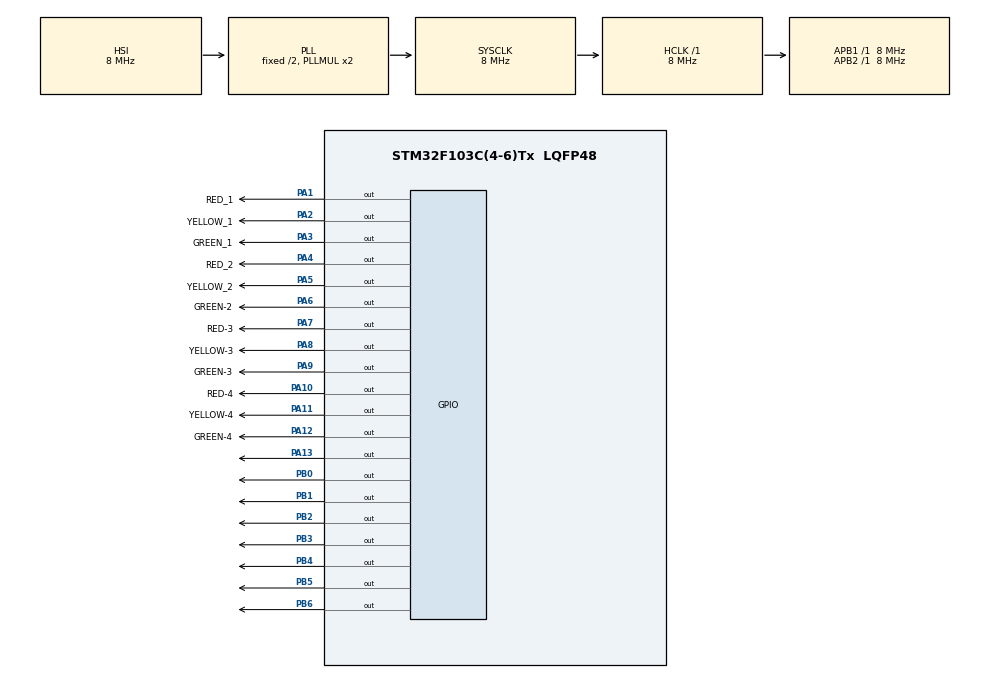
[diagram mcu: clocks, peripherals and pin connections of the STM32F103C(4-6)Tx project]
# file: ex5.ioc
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Mcu.Family=STM32F1
Mcu.Name=STM32F103C(4-6)Tx
Mcu.Package=LQFP48
NVIC.PriorityGroup=NVIC_PRIORITYGROUP_4
NVIC.TIM2_IRQn=true\:0\:0\:false\:false\:true\:true\:true\:true
PA1.GPIO_Label=RED_1
PA1.Signal=GPIO_Output
PA10.GPIO_Label=RED-4
PA10.Signal=GPIO_Output
PA11.GPIO_Label=YELLOW-4
PA11.Signal=GPIO_Output
PA12.GPIO_Label=GREEN-4
PA12.Signal=GPIO_Output
PA13.Signal=GPIO_Output
PA2.GPIO_Label=YELLOW_1
PA2.Signal=GPIO_Output
PA3.GPIO_Label=GREEN_1
PA3.Signal=GPIO_Output
PA4.GPIO_Label=RED_2
PA4.Signal=GPIO_Output
PA5.GPIO_Label=YELLOW_2
PA5.Signal=GPIO_Output
PA6.GPIO_Label=GREEN-2
PA6.Signal=GPIO_Output
PA7.GPIO_Label=RED-3
PA7.Signal=GPIO_Output
PA8.GPIO_Label=YELLOW-3
PA8.Signal=GPIO_Output
PA9.GPIO_Label=GREEN-3
PA9.Signal=GPIO_Output
PB0.Signal=GPIO_Output
PB1.Signal=GPIO_Output
PB2.Signal=GPIO_Output
PB3.Signal=GPIO_Output
PB4.Signal=GPIO_Output
PB5.Signal=GPIO_Output
PB6.Signal=GPIO_Output
ProjectManager.HeapSize=0x200
ProjectManager.StackSize=0x400
ProjectManager.TargetToolchain=STM32CubeIDE
RCC.AHBFreq_Value=8000000
RCC.APB1Freq_Value=8000000
RCC.APB1TimFreq_Value=8000000
RCC.APB2Freq_Value=8000000
RCC.APB2TimFreq_Value=8000000
RCC.HCLKFreq_Value=8000000
RCC.SYSCLKFreq_VALUE=8000000
RCC.SYSCLKSource=RCC_SYSCLKSOURCE_PLLCLK
RCC.USBFreq_Value=8000000
TIM2.Period=999
TIM2.Prescaler=7999
VP_SYS_VS_ND.Mode=No_Debug
VP_TIM2_VS_ClockSourceINT.Mode=Internal
board=custom

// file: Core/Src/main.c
/* USER CODE BEGIN Header */
/**
  ******************************************************************************
  * @file           : main.c
  * @brief          : Main program body
  ******************************************************************************
  * @attention
  *
  * Copyright (c) 2022 STMicroelectronics.
  * All rights reserved.
  *
  * This software is licensed under terms that can be found in the LICENSE file
  * in the root directory of this software component.
  * If no LICENSE file comes with this software, it is provided AS-IS.
  *
  ******************************************************************************
  */
/* USER CODE END Header */
#include "main.h"

 TIM_HandleTypeDef htim2;

void SystemClock_Config(void);
static void MX_GPIO_Init(void);
static void MX_TIM2_Init(void);

/* USER CODE BEGIN 0 */
char status = 'r';
char status_2 = 'g';

const int redTime = 5;
const int greenTime = 4;
const int yellowTime = 1;

int isYellow = 1;

const int delayTime = redTime-greenTime-yellowTime;

int currentTime = 0;
int currentYellowTIme = 0;

int countdownTime = 10;

void lightSwitch(int light, char signal){
	if (signal == 'r'){
		if (light == 1){
			HAL_GPIO_WritePin(RED_1_GPIO_Port, RED_1_Pin, 0);
			HAL_GPIO_WritePin(YELLOW_1_GPIO_Port, YELLOW_1_Pin, 1);
			HAL_GPIO_WritePin(GREEN_1_GPIO_Port, GREEN_1_Pin, 1);
		}
		else if (light == 2){
			HAL_GPIO_WritePin(RED_2_GPIO_Port, RED_2_Pin, 0);
			HAL_GPIO_WritePin(YELLOW_2_GPIO_Port, YELLOW_2_Pin, 1);
			HAL_GPIO_WritePin(GREEN_2_GPIO_Port, GREEN_2_Pin, 1);
		}
		else if (light == 3){
			HAL_GPIO_WritePin(RED_3_GPIO_Port, RED_3_Pin, 0);
			HAL_GPIO_WritePin(YELLOW_3_GPIO_Port, YELLOW_3_Pin, 1);
			HAL_GPIO_WritePin(GREEN_3_GPIO_Port, GREEN_3_Pin, 1);
		}
		else if (light == 4){
			HAL_GPIO_WritePin(RED_4_GPIO_Port, RED_4_Pin, 0);
			HAL_GPIO_WritePin(YELLOW_4_GPIO_Port, YELLOW_4_Pin, 1);
			HAL_GPIO_WritePin(GREEN_4_GPIO_Port, GREEN_4_Pin, 1);
		}
	}
	else if (signal == 'g'){
		if (light == 1){
			HAL_GPIO_WritePin(RED_1_GPIO_Port, RED_1_Pin, 1);
			HAL_GPIO_WritePin(YELLOW_1_GPIO_Port, YELLOW_1_Pin, 1);
			HAL_GPIO_WritePin(GREEN_1_GPIO_Port, GREEN_1_Pin, 0);
		}
		else if (light == 2){
			HAL_GPIO_WritePin(RED_2_GPIO_Port, RED_2_Pin, 1);
			HAL_GPIO_WritePin(YELLOW_2_GPIO_Port, YELLOW_2_Pin, 1);
			HAL_GPIO_WritePin(GREEN_2_GPIO_Port, GREEN_2_Pin, 0);
		}
		else if (light == 3){
			HAL_GPIO_WritePin(RED_3_GPIO_Port, RED_3_Pin, 1);
			HAL_GPIO_WritePin(YELLOW_3_GPIO_Port, YELLOW_3_Pin, 1);
			HAL_GPIO_WritePin(GREEN_3_GPIO_Port, GREEN_3_Pin, 0);
		}
		else if (light == 4){
			HAL_GPIO_WritePin(RED_4_GPIO_Port, RED_4_Pin, 1);
			HAL_GPIO_WritePin(YELLOW_4_GPIO_Port, YELLOW_4_Pin, 1);
			HAL_GPIO_WritePin(GREEN_4_GPIO_Port, GREEN_4_Pin, 0);
		}
	}
	else if(signal == 'y'){
		if (light == 1){
			HAL_GPIO_WritePin(RED_1_GPIO_Port, RED_1_Pin, 1);
			HAL_GPIO_WritePin(YELLOW_1_GPIO_Port, YELLOW_1_Pin, 0);
			HAL_GPIO_WritePin(GREEN_1_GPIO_Port, GREEN_1_Pin, 1);
		}
		else if (light == 2){
			HAL_GPIO_WritePin(RED_2_GPIO_Port, RED_2_Pin, 1);
			HAL_GPIO_WritePin(YELLOW_2_GPIO_Port, YELLOW_2_Pin, 0);
			HAL_GPIO_WritePin(GREEN_2_GPIO_Port, GREEN_2_Pin, 1);
		}
		else if (light == 3){
			HAL_GPIO_WritePin(RED_3_GPIO_Port, RED_3_Pin, 1);
			HAL_GPIO_WritePin(YELLOW_3_GPIO_Port, YELLOW_3_Pin, 0);
			HAL_GPIO_WritePin(GREEN_3_GPIO_Port, GREEN_3_Pin, 1);
		}
		else if (light == 4){
			HAL_GPIO_WritePin(RED_4_GPIO_Port, RED_4_Pin, 1);
			HAL_GPIO_WritePin(YELLOW_4_GPIO_Port, YELLOW_4_Pin, 0);
			HAL_GPIO_WritePin(GREEN_4_GPIO_Port, GREEN_4_Pin, 1);
		}
	}
}

void turnOnB(int *arr, int n){
  char state = 0;
  for (int i = 0; i < n; i++){
	  switch(arr[i]){
		  case 0:
			  HAL_GPIO_WritePin(GPIOB, GPIO_PIN_0, state);
			  break;
		  case 1:
			  HAL_GPIO_WritePin(GPIOB, GPIO_PIN_1, state);
			  break;
		  case 2:
			  HAL_GPIO_WritePin(GPIOB, GPIO_PIN_2, state);
			  break;
		  case 3:
			  HAL_GPIO_WritePin(GPIOB, GPIO_PIN_3, state);
			  break;
		  case 4:
			  HAL_GPIO_WritePin(GPIOB, GPIO_PIN_4, state);
			  break;
		  case 5:
			  HAL_GPIO_WritePin(GPIOB, GPIO_PIN_5, state);
			  break;
		  case 6:
			  HAL_GPIO_WritePin(GPIOB, GPIO_PIN_6, state);
			  break;

		  default:
			  break;
	  }
  }
}

void turnOffB(int *arr, int n){
  char state = 1;
  for (int i = 0; i < n; i++){
	  switch(arr[i]){
		  case 0:
			  HAL_GPIO_WritePin(GPIOB, GPIO_PIN_0, state);
			  break;
		  case 1:
			  HAL_GPIO_WritePin(GPIOB, GPIO_PIN_1, state);
			  break;
		  case 2:
			  HAL_GPIO_WritePin(GPIOB, GPIO_PIN_2, state);
			  break;
		  case 3:
			  HAL_GPIO_WritePin(GPIOB, GPIO_PIN_3, state);
			  break;
		  case 4:
			  HAL_GPIO_WritePin(GPIOB, GPIO_PIN_4, state);
			  break;
		  case 5:
			  HAL_GPIO_WritePin(GPIOB, GPIO_PIN_5, state);
			  break;
		  case 6:
			  HAL_GPIO_WritePin(GPIOB, GPIO_PIN_6, state);
			  break;

		  default:
			  break;
	  }
  }
}

void segmentLed(int n){
  int *arrOn;
  int *arrOff;
  int len = 0;
  int lenOff = 0;

  if(n==0){
	len = 6;
	int tempOn[7] = {1,2,3,4,5,6};
	int tempOff[7] = {0};
	lenOff = 1;
	arrOff = tempOff;
	arrOn = tempOn;
  }

  else if(n==1){
	len = 2;
	int tempOn[7] = {5,4};
	int tempOff[7] = {1,2,3,6,0};
	lenOff = 5;
	arrOff = tempOff;
	arrOn = tempOn;
  }

  else if(n==2){
	int tempOn[7] = {6,5,0,2,3};
	int tempOff[7] = {1,4};
	lenOff = 2;
	arrOff = tempOff;
	len = 5;
	arrOn = tempOn;
  }

  else if(n==3){
	int tempOn[7] = {6,5,0,4,3};
	int tempOff[7] = {1,2};
	lenOff = 2;
	arrOff = tempOff;
	len = 5;
	arrOn = tempOn;
  }

  else if(n==4){
	int tempOn[7] = {1,0,5,4};
	int tempOff[7] = {2,3,6};
	lenOff = 3;
	arrOff = tempOff;
	len = 4;
	arrOn = tempOn;
  }

  else if(n==5){
	int tempOn[7] = {6,1,0,4,3};
	int tempOff[7] = {2,5};
	lenOff = 2;
	arrOff = tempOff;
	len = 5;
	arrOn = tempOn;
  }

  else if(n==6){
	int tempOn[7] = {6,1,0,4,3,2};
	int tempOff[7] = {5};
	lenOff = 1;
	arrOff = tempOff;
	len = 6;
	arrOn = tempOn;
  }

  else if(n==7){
	int tempOn[7] = {4,5,6};
	int tempOff[7] = {0,1,2,3};
	lenOff = 4;
	arrOff = tempOff;
	len = 3;
	arrOn = tempOn;
  }

  else if(n==8){
	int tempOn[7] = {0,1,2,3,4,5,6};
	int tempOff[7] = {};
	lenOff = 0;
	arrOff = tempOff;
	len = 7;
	arrOn = tempOn;
  }

  else if(n==9){
	int tempOn[7] = {0,1,6,5,4,3};
	int tempOff[7] = {2};
	lenOff = 1;
	arrOff = tempOff;
	len = 6;
	arrOn = tempOn;
  }

  turnOnB(arrOn, len);
  turnOffB(arrOff, lenOff);
}

void HAL_TIM_PeriodElapsedCallback(TIM_HandleTypeDef *htim){
	countdownTime--;

	if (status == 'r' && countdownTime - 3 < 0 && status_2 != 'y'){
		status_2 = 'y';
	}
	else if (countdownTime < 0){
		if (status == 'r'){
			status = 'g';
			status_2 = 'r';
		}
		else if (status == 'g'){
			status = 'y';
			status_2 = 'r';
		}
		else if (status == 'y'){
			status = 'r';
			status_2 = 'g';
		}

		// SET COUNTDOWN TIME
		if (status == 'r'){
			countdownTime = 9;
		}
		else if (status == 'g'){
			countdownTime = 7;
		}
		else{
			countdownTime = 2;
		}
	}

	segmentLed(countdownTime);

	lightSwitch(1, status);
	lightSwitch(3, status);
	lightSwitch(2, status_2);
	lightSwitch(4, status_2);
}

/* USER CODE END 0 */

int main(void)
{

  /* MCU Configuration--------------------------------------------------------*/

  /* Reset of all peripherals, Initializes the Flash interface and the Systick. */
  HAL_Init();

  /* Configure the system clock */
  SystemClock_Config();

  /* Initialize all configured peripherals */
  MX_GPIO_Init();
  MX_TIM2_Init();
  /* USER CODE BEGIN 2 */
  status = 'r';
  status_2 = 'g';
  HAL_TIM_Base_Start_IT(&htim2);
  /* USER CODE END 2 */

  /* Infinite loop */
  while (1)
  {

  }
}

void SystemClock_Config(void)
{
  RCC_OscInitTypeDef RCC_OscInitStruct = {0};
  RCC_ClkInitTypeDef RCC_ClkInitStruct = {0};

  /** Initializes the RCC Oscillators according to the specified parameters
  * in the RCC_OscInitTypeDef structure.
  */
  RCC_OscInitStruct.OscillatorType = RCC_OSCILLATORTYPE_HSI;
  RCC_OscInitStruct.HSIState = RCC_HSI_ON;
  RCC_OscInitStruct.HSICalibrationValue = RCC_HSICALIBRATION_DEFAULT;
  RCC_OscInitStruct.PLL.PLLState = RCC_PLL_ON;
  RCC_OscInitStruct.PLL.PLLSource = RCC_PLLSOURCE_HSI_DIV2;
  RCC_OscInitStruct.PLL.PLLMUL = RCC_PLL_MUL2;
  if (HAL_RCC_OscConfig(&RCC_OscInitStruct) != HAL_OK)
  {
    Error_Handler();
  }

  /** Initializes the CPU, AHB and APB buses clocks
  */
  RCC_ClkInitStruct.ClockType = RCC_CLOCKTYPE_HCLK|RCC_CLOCKTYPE_SYSCLK
                              |RCC_CLOCKTYPE_PCLK1|RCC_CLOCKTYPE_PCLK2;
  RCC_ClkInitStruct.SYSCLKSource = RCC_SYSCLKSOURCE_PLLCLK;
  RCC_ClkInitStruct.AHBCLKDivider = RCC_SYSCLK_DIV1;
  RCC_ClkInitStruct.APB1CLKDivider = RCC_HCLK_DIV1;
  RCC_ClkInitStruct.APB2CLKDivider = RCC_HCLK_DIV1;

  if (HAL_RCC_ClockConfig(&RCC_ClkInitStruct, FLASH_LATENCY_0) != HAL_OK)
  {
    Error_Handler();
  }
}

static void MX_TIM2_Init(void)
{

  TIM_ClockConfigTypeDef sClockSourceConfig = {0};
  TIM_MasterConfigTypeDef sMasterConfig = {0};

  htim2.Instance = TIM2;
  htim2.Init.Prescaler = 7999;
  htim2.Init.CounterMode = TIM_COUNTERMODE_UP;
  htim2.Init.Period = 999;
  htim2.Init.ClockDivision = TIM_CLOCKDIVISION_DIV1;
  htim2.Init.AutoReloadPreload = TIM_AUTORELOAD_PRELOAD_DISABLE;
  if (HAL_TIM_Base_Init(&htim2) != HAL_OK)
  {
    Error_Handler();
  }
  sClockSourceConfig.ClockSource = TIM_CLOCKSOURCE_INTERNAL;
  if (HAL_TIM_ConfigClockSource(&htim2, &sClockSourceConfig) != HAL_OK)
  {
    Error_Handler();
  }
  sMasterConfig.MasterOutputTrigger = TIM_TRGO_RESET;
  sMasterConfig.MasterSlaveMode = TIM_MASTERSLAVEMODE_DISABLE;
  if (HAL_TIMEx_MasterConfigSynchronization(&htim2, &sMasterConfig) != HAL_OK)
  {
    Error_Handler();
  }

}

static void MX_GPIO_Init(void)
{
  GPIO_InitTypeDef GPIO_InitStruct = {0};

  /* GPIO Ports Clock Enable */
  __HAL_RCC_GPIOA_CLK_ENABLE();
  __HAL_RCC_GPIOB_CLK_ENABLE();

  /*Configure GPIO pin Output Level */
  HAL_GPIO_WritePin(GPIOA, RED_1_Pin|YELLOW_1_Pin|GREEN_1_Pin|RED_2_Pin
                          |YELLOW_2_Pin|GREEN_2_Pin|RED_3_Pin|YELLOW_3_Pin
                          |GREEN_3_Pin|RED_4_Pin|YELLOW_4_Pin|GREEN_4_Pin
                          |GPIO_PIN_13, GPIO_PIN_SET);

  /*Configure GPIO pin Output Level */
  HAL_GPIO_WritePin(GPIOB, GPIO_PIN_0|GPIO_PIN_1|GPIO_PIN_2|GPIO_PIN_3
                          |GPIO_PIN_4|GPIO_PIN_5|GPIO_PIN_6, GPIO_PIN_RESET);

  /*Configure GPIO pins : RED_1_Pin YELLOW_1_Pin GREEN_1_Pin RED_2_Pin
                           YELLOW_2_Pin GREEN_2_Pin RED_3_Pin YELLOW_3_Pin
                           GREEN_3_Pin RED_4_Pin YELLOW_4_Pin GREEN_4_Pin
                           PA13 */
  GPIO_InitStruct.Pin = RED_1_Pin|YELLOW_1_Pin|GREEN_1_Pin|RED_2_Pin
                          |YELLOW_2_Pin|GREEN_2_Pin|RED_3_Pin|YELLOW_3_Pin
                          |GREEN_3_Pin|RED_4_Pin|YELLOW_4_Pin|GREEN_4_Pin
                          |GPIO_PIN_13;
  GPIO_InitStruct.Mode = GPIO_MODE_OUTPUT_PP;
  GPIO_InitStruct.Pull = GPIO_NOPULL;
  GPIO_InitStruct.Speed = GPIO_SPEED_FREQ_LOW;
  HAL_GPIO_Init(GPIOA, &GPIO_InitStruct);

  /*Configure GPIO pins : PB0 PB1 PB2 PB3
                           PB4 PB5 PB6 */
  GPIO_InitStruct.Pin = GPIO_PIN_0|GPIO_PIN_1|GPIO_PIN_2|GPIO_PIN_3
                          |GPIO_PIN_4|GPIO_PIN_5|GPIO_PIN_6;
  GPIO_InitStruct.Mode = GPIO_MODE_OUTPUT_PP;
  GPIO_InitStruct.Pull = GPIO_NOPULL;
  GPIO_InitStruct.Speed = GPIO_SPEED_FREQ_LOW;
  HAL_GPIO_Init(GPIOB, &GPIO_InitStruct);

}

void Error_Handler(void)
{
  __disable_irq();
  while (1)
  {
  }
}
